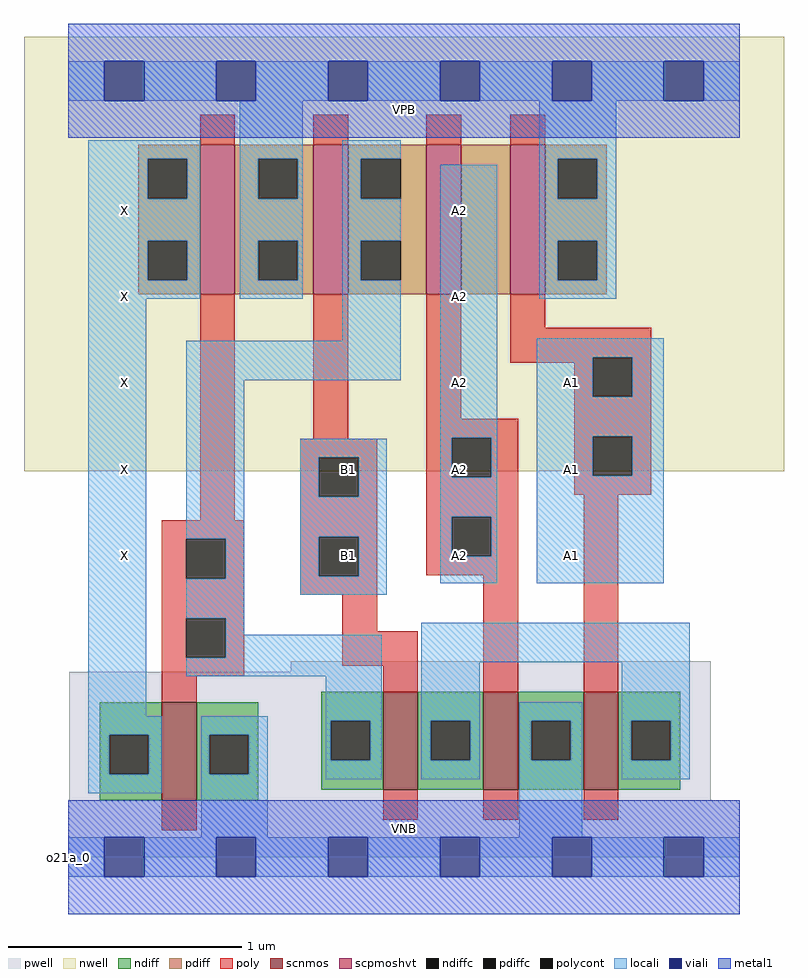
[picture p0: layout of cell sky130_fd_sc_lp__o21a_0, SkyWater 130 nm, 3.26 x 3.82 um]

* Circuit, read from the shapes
.subckt sky130_fd_sc_lp__o21a_0 A1 A2 B1 VGND VNB VPB VPWR X
XM1 VGND n1 X VNB sky130_fd_pr__nfet_01v8 w=0.42 l=0.15
XM2 n2 B1 n1 VNB sky130_fd_pr__nfet_01v8 w=0.42 l=0.15
XM3 VGND A2 n2 VNB sky130_fd_pr__nfet_01v8 w=0.42 l=0.15
XM4 n2 A1 VGND VNB sky130_fd_pr__nfet_01v8 w=0.42 l=0.15
XM5 VPWR n1 X VPB sky130_fd_pr__pfet_01v8_hvt w=0.64 l=0.15
XM6 n1 B1 VPWR VPB sky130_fd_pr__pfet_01v8_hvt w=0.64 l=0.15
XM7 n3 A2 n1 VPB sky130_fd_pr__pfet_01v8_hvt w=0.64 l=0.15
XM8 VPWR A1 n3 VPB sky130_fd_pr__pfet_01v8_hvt w=0.64 l=0.15
.ends

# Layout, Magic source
magic
tech sky130A
magscale 1 2
<< nwell >>
rect -38 331 614 704
<< pwell >>
rect 191 159 551 168
rect 1 49 551 159
rect 0 0 576 49
<< scnmos >>
rect 80 49 110 133
rect 270 58 300 142
rect 356 58 386 142
rect 442 58 472 142
<< scpmoshvt >>
rect 113 483 143 611
rect 210 483 240 611
rect 307 483 337 611
rect 379 483 409 611
<< ndiff >>
rect 27 105 80 133
rect 27 71 35 105
rect 69 71 80 105
rect 27 49 80 71
rect 110 105 163 133
rect 110 71 121 105
rect 155 71 163 105
rect 110 49 163 71
rect 217 117 270 142
rect 217 83 225 117
rect 259 83 270 117
rect 217 58 270 83
rect 300 117 356 142
rect 300 83 311 117
rect 345 83 356 117
rect 300 58 356 83
rect 386 117 442 142
rect 386 83 397 117
rect 431 83 442 117
rect 386 58 442 83
rect 472 117 525 142
rect 472 83 483 117
rect 517 83 525 117
rect 472 58 525 83
<< pdiff >>
rect 60 599 113 611
rect 60 565 68 599
rect 102 565 113 599
rect 60 529 113 565
rect 60 495 68 529
rect 102 495 113 529
rect 60 483 113 495
rect 143 599 210 611
rect 143 565 163 599
rect 197 565 210 599
rect 143 529 210 565
rect 143 495 163 529
rect 197 495 210 529
rect 143 483 210 495
rect 240 599 307 611
rect 240 565 251 599
rect 285 565 307 599
rect 240 529 307 565
rect 240 495 251 529
rect 285 495 307 529
rect 240 483 307 495
rect 337 483 379 611
rect 409 599 462 611
rect 409 565 420 599
rect 454 565 462 599
rect 409 529 462 565
rect 409 495 420 529
rect 454 495 462 529
rect 409 483 462 495
<< ndiffc >>
rect 35 71 69 105
rect 121 71 155 105
rect 225 83 259 117
rect 311 83 345 117
rect 397 83 431 117
rect 483 83 517 117
<< pdiffc >>
rect 68 565 102 599
rect 68 495 102 529
rect 163 565 197 599
rect 163 495 197 529
rect 251 565 285 599
rect 251 495 285 529
rect 420 565 454 599
rect 420 495 454 529
<< poly >>
rect 113 611 143 637
rect 210 611 240 637
rect 307 611 337 637
rect 379 611 409 637
rect 113 289 143 483
rect 210 359 240 483
rect 307 376 337 483
rect 379 454 409 483
rect 379 429 500 454
rect 379 424 450 429
rect 434 395 450 424
rect 484 395 500 429
rect 307 360 386 376
rect 199 343 265 359
rect 199 309 215 343
rect 249 309 265 343
rect 80 273 151 289
rect 80 239 101 273
rect 135 239 151 273
rect 80 205 151 239
rect 199 275 265 309
rect 199 241 215 275
rect 249 241 265 275
rect 307 326 329 360
rect 363 326 386 360
rect 307 292 386 326
rect 434 361 500 395
rect 434 327 450 361
rect 484 327 500 361
rect 434 311 500 327
rect 307 258 329 292
rect 363 258 386 292
rect 307 242 386 258
rect 199 225 265 241
rect 80 171 101 205
rect 135 171 151 205
rect 80 155 151 171
rect 235 194 265 225
rect 235 164 300 194
rect 80 133 110 155
rect 270 142 300 164
rect 356 142 386 242
rect 442 142 472 311
rect 80 23 110 49
rect 270 32 300 58
rect 356 32 386 58
rect 442 32 472 58
<< polycont >>
rect 450 395 484 429
rect 215 309 249 343
rect 101 239 135 273
rect 215 241 249 275
rect 329 326 363 360
rect 450 327 484 361
rect 329 258 363 292
rect 101 171 135 205
<< locali >>
rect 0 649 31 683
rect 65 649 127 683
rect 161 649 223 683
rect 257 649 319 683
rect 353 649 415 683
rect 449 649 511 683
rect 545 649 576 683
rect 17 599 113 615
rect 17 565 68 599
rect 102 565 113 599
rect 17 529 113 565
rect 17 495 68 529
rect 102 495 113 529
rect 17 479 113 495
rect 147 599 201 649
rect 147 565 163 599
rect 197 565 201 599
rect 147 529 201 565
rect 147 495 163 529
rect 197 495 201 529
rect 147 479 201 495
rect 235 599 285 615
rect 235 565 251 599
rect 404 599 470 649
rect 235 529 285 565
rect 235 495 251 529
rect 17 121 67 479
rect 235 443 285 495
rect 101 409 285 443
rect 101 273 151 409
rect 319 360 368 594
rect 404 565 420 599
rect 454 565 470 599
rect 404 529 470 565
rect 404 495 420 529
rect 454 495 470 529
rect 404 479 470 495
rect 135 239 151 273
rect 101 205 151 239
rect 199 343 273 359
rect 199 309 215 343
rect 249 309 273 343
rect 199 275 273 309
rect 199 241 215 275
rect 249 241 273 275
rect 199 225 273 241
rect 319 326 329 360
rect 363 326 368 360
rect 319 292 368 326
rect 319 258 329 292
rect 363 258 368 292
rect 319 235 368 258
rect 402 429 511 445
rect 402 395 450 429
rect 484 395 511 429
rect 402 361 511 395
rect 402 327 450 361
rect 484 327 511 361
rect 402 235 511 327
rect 135 191 151 205
rect 135 171 269 191
rect 101 155 269 171
rect 17 105 80 121
rect 17 71 35 105
rect 69 71 80 105
rect 17 55 80 71
rect 114 105 171 121
rect 114 71 121 105
rect 155 71 171 105
rect 114 17 171 71
rect 221 117 269 155
rect 221 83 225 117
rect 259 83 269 117
rect 221 67 269 83
rect 303 167 533 201
rect 303 117 353 167
rect 303 83 311 117
rect 345 83 353 117
rect 303 67 353 83
rect 387 117 441 133
rect 387 83 397 117
rect 431 83 441 117
rect 387 17 441 83
rect 475 117 533 167
rect 475 83 483 117
rect 517 83 533 117
rect 475 67 533 83
rect 0 -17 31 17
rect 65 -17 127 17
rect 161 -17 223 17
rect 257 -17 319 17
rect 353 -17 415 17
rect 449 -17 511 17
rect 545 -17 576 17
<< viali >>
rect 31 649 65 683
rect 127 649 161 683
rect 223 649 257 683
rect 319 649 353 683
rect 415 649 449 683
rect 511 649 545 683
rect 31 -17 65 17
rect 127 -17 161 17
rect 223 -17 257 17
rect 319 -17 353 17
rect 415 -17 449 17
rect 511 -17 545 17
<< metal1 >>
rect 0 683 576 715
rect 0 649 31 683
rect 65 649 127 683
rect 161 649 223 683
rect 257 649 319 683
rect 353 649 415 683
rect 449 649 511 683
rect 545 649 576 683
rect 0 617 576 649
rect 0 17 576 49
rect 0 -17 31 17
rect 65 -17 127 17
rect 161 -17 223 17
rect 257 -17 319 17
rect 353 -17 415 17
rect 449 -17 511 17
rect 545 -17 576 17
rect 0 -49 576 -17
<< labels >>
flabel pwell s 0 0 576 49 0 FreeSans 200 0 0 0 VNB
port 5 nsew ground bidirectional
flabel nwell s 0 617 576 666 0 FreeSans 200 0 0 0 VPB
port 6 nsew power bidirectional
rlabel comment s 0 0 0 0 4 o21a_0
flabel metal1 s 0 617 576 666 0 FreeSans 340 0 0 0 VPWR
port 7 nsew power bidirectional
flabel metal1 s 0 0 576 49 0 FreeSans 340 0 0 0 VGND
port 4 nsew ground bidirectional
flabel locali s 415 242 449 276 0 FreeSans 340 0 0 0 A1
port 1 nsew signal input
flabel locali s 415 316 449 350 0 FreeSans 340 0 0 0 A1
port 1 nsew signal input
flabel locali s 415 390 449 424 0 FreeSans 340 0 0 0 A1
port 1 nsew signal input
flabel locali s 319 242 353 276 0 FreeSans 340 0 0 0 A2
port 2 nsew signal input
flabel locali s 319 316 353 350 0 FreeSans 340 0 0 0 A2
port 2 nsew signal input
flabel locali s 319 390 353 424 0 FreeSans 340 0 0 0 A2
port 2 nsew signal input
flabel locali s 319 464 353 498 0 FreeSans 340 0 0 0 A2
port 2 nsew signal input
flabel locali s 319 538 353 572 0 FreeSans 340 0 0 0 A2
port 2 nsew signal input
flabel locali s 223 242 257 276 0 FreeSans 340 0 0 0 B1
port 3 nsew signal input
flabel locali s 223 316 257 350 0 FreeSans 340 0 0 0 B1
port 3 nsew signal input
flabel locali s 31 242 65 276 0 FreeSans 340 0 0 0 X
port 8 nsew signal output
flabel locali s 31 316 65 350 0 FreeSans 340 0 0 0 X
port 8 nsew signal output
flabel locali s 31 390 65 424 0 FreeSans 340 0 0 0 X
port 8 nsew signal output
flabel locali s 31 464 65 498 0 FreeSans 340 0 0 0 X
port 8 nsew signal output
flabel locali s 31 538 65 572 0 FreeSans 340 0 0 0 X
port 8 nsew signal output
<< properties >>
string LEFsite unit
string LEFclass CORE
string FIXED_BBOX 0 0 576 666
string GDS_FILE $PDKPATH/libs.ref/sky130_fd_sc_lp/gds/sky130_fd_sc_lp.gds
string LEFsymmetry X Y R90
string GDS_END 832866
string GDS_START 825988
<< end >>
